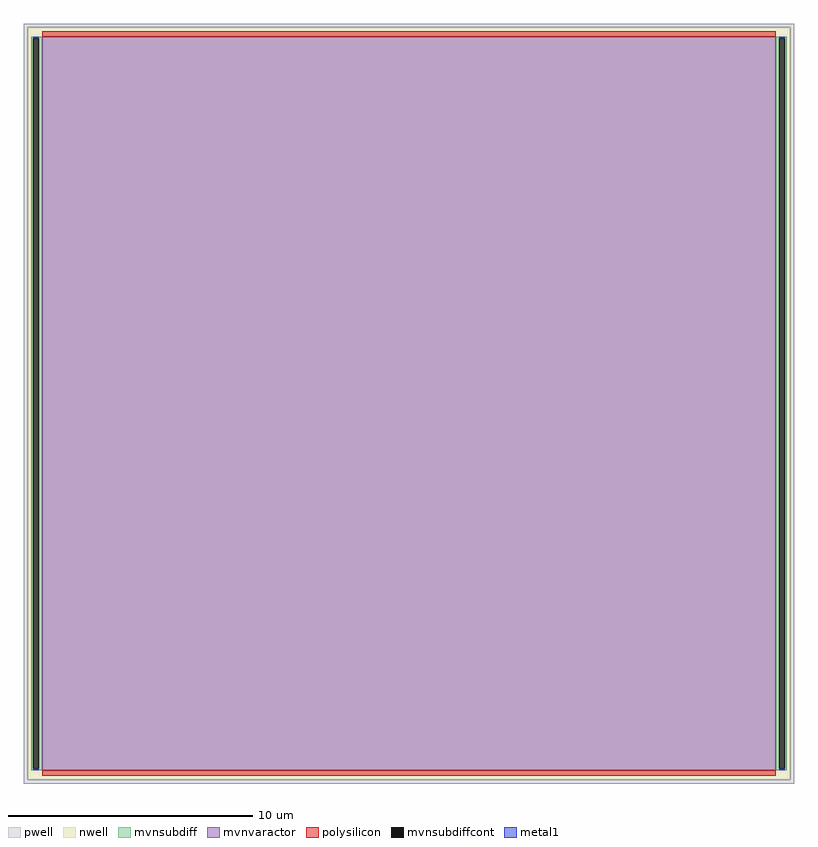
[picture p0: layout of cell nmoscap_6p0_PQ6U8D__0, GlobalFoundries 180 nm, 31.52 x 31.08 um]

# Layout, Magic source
magic
tech gf180mcuD
magscale 1 10
<< nwell >>
rect -3120 -3076 3120 3076
<< pwell >>
rect -3152 3076 3152 3108
rect -3152 -3076 -3120 3076
rect 3120 -3076 3152 3076
rect -3152 -3108 3152 -3076
<< mvnsubdiff >>
rect -3088 2987 -3000 3000
rect -3088 -2987 -3075 2987
rect -3029 -2987 -3000 2987
rect -3088 -3000 -3000 -2987
rect 3000 2987 3088 3000
rect 3000 -2987 3029 2987
rect 3075 -2987 3088 2987
rect 3000 -3000 3088 -2987
<< mvnsubdiffcont >>
rect -3075 -2987 -3029 2987
rect 3029 -2987 3075 2987
<< mvnvaractor >>
rect -3000 -3000 3000 3000
<< polysilicon >>
rect -3000 3000 3000 3044
rect -3000 -3044 3000 -3000
<< metal1 >>
rect -3075 2987 -3029 2998
rect -3075 -2998 -3029 -2987
rect 3029 2987 3075 2998
rect 3029 -2998 3075 -2987
<< properties >>
string gencell nmoscap_6p0
string library gf180mcu
string parameters w 30 l 30 m 1 nf 1 diffcov 100 polycov 60 guard 0 glc 0 grc 0 gtc 0 gbc 0 tbcov 100 rlcov 100 topc 0 botc 0 poverlap 0 doverlap 1 lmin 0.28 wmin 0.3 class mosfet full_metal 0 compatible {nmoscap_3p3 nmoscap_6p0}
<< end >>
